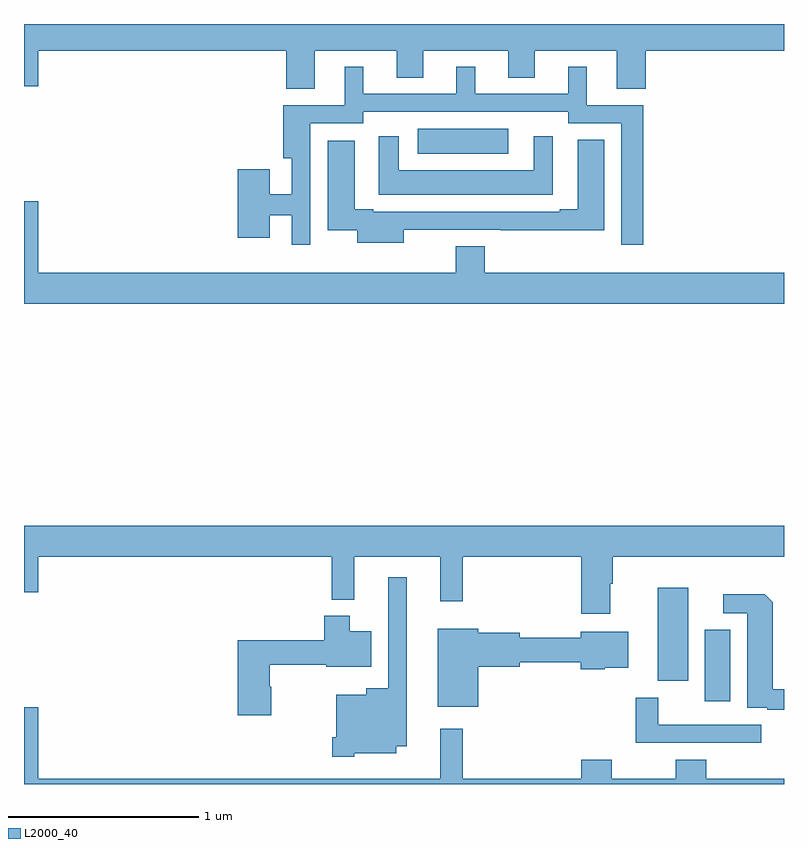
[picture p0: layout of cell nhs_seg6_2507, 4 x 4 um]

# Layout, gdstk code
import gdstk
lib = gdstk.Library(unit=1e-6, precision=1e-09)
def R(c, l, rs):  # rectangles x0, y0, x1, y1
    for r in rs: c.add(gdstk.rectangle(r[:2], r[2:], *l))
def P(c, l, *ps):  # polygons
    for p in ps: c.add(gdstk.Polygon(p, *l))
L2000_40 = (2000, 40)

nhs_seg6_2507 = lib.new_cell('nhs_seg6_2507')
R(nhs_seg6_2507, L2000_40, [(264.584,919.935,264.718,920.311), (264.335,920.043,264.496,920.533), (263.073,922.817,263.548,922.948)])
P(nhs_seg6_2507, L2000_40, [(262.531,923.36),(262.961,923.36),(262.961,923.218),(263.101,923.218),(263.101,923.36),(263.549,923.36),(263.549,923.218),(263.689,923.218),(263.689,923.36),(264.119,923.36),(264.119,923.158),(264.272,923.158),(264.272,923.36),(265,923.36),(265,923.5),(261,923.5),(261,923.172),(261.076,923.172),(261.076,923.36),(262.379,923.36),(262.379,923.158),(262.531,923.158)],
  [(262.506,922.977),(262.785,922.977),(262.785,923.037),(263.865,923.037),(263.865,922.977),(264.144,922.977),(264.144,922.338),(264.26,922.338),(264.26,923.073),(263.962,923.073),(263.962,923.275),(263.864,923.275),(263.864,923.133),(263.374,923.133),(263.374,923.275),(263.276,923.275),(263.276,923.133),(262.786,923.133),(262.786,923.275),(262.688,923.275),(262.688,923.073),(262.364,923.073),(262.364,922.793),(262.41,922.793),(262.41,922.604),(262.294,922.604),(262.294,922.735),(262.124,922.735),(262.124,922.374),(262.294,922.374),(262.294,922.494),(262.41,922.494),(262.41,922.338),(262.506,922.338)],
  [(263.782,922.909),(263.684,922.909),(263.684,922.729),(262.972,922.729),(262.972,922.909),(262.868,922.909),(262.868,922.601),(263.782,922.601)],
  [(262.999,922.416),(263.509,922.416),(263.509,922.414),(264.055,922.414),(264.055,922.891),(263.915,922.891),(263.915,922.525),(263.819,922.525),(263.819,922.512),(262.837,922.512),(262.837,922.525),(262.741,922.525),(262.741,922.885),(262.598,922.885),(262.598,922.414),(262.754,922.414),(262.754,922.349),(262.999,922.349)],
  [(265,922.192),(263.426,922.192),(263.426,922.331),(263.273,922.331),(263.273,922.192),(261.076,922.192),(261.076,922.567),(261,922.567),(261,922.028),(265,922.028)],
  [(264.085,920.555),(264.098,920.555),(264.098,920.696),(265,920.696),(265,920.86),(261,920.86),(261,920.508),(261.076,920.508),(261.076,920.696),(262.621,920.696),(262.621,920.471),(262.739,920.471),(262.739,920.696),(263.192,920.696),(263.192,920.463),(263.309,920.463),(263.309,920.696),(263.933,920.696),(263.933,920.397),(264.085,920.397)],
  [(262.737,919.661),(262.96,919.661),(262.96,919.7),(263.014,919.7),(263.014,920.587),(262.917,920.587),(262.917,920.005),(262.802,920.005),(262.802,919.969),(262.643,919.969),(262.643,919.747),(262.622,919.747),(262.622,919.643),(262.737,919.643)],
  [(265,919.998),(264.94,919.998),(264.94,920.456),(264.898,920.498),(264.681,920.498),(264.681,920.4),(264.806,920.4),(264.806,919.902),(264.911,919.902),(264.911,919.89),(265,919.89)],
  [(262.302,920.013),(262.294,920.013),(262.294,920.128),(262.592,920.128),(262.592,920.117),(262.828,920.117),(262.828,920.305),(262.714,920.305),(262.714,920.386),(262.58,920.386),(262.58,920.257),(262.124,920.257),(262.124,919.863),(262.302,919.863)],
  [(263.392,920.117),(263.608,920.117),(263.608,920.14),(263.93,920.14),(263.93,920.104),(264.056,920.104),(264.056,920.111),(264.181,920.111),(264.181,920.302),(263.93,920.302),(263.93,920.269),(263.608,920.269),(263.608,920.295),(263.392,920.295),(263.392,920.317),(263.177,920.317),(263.177,919.907),(263.392,919.907)],
  [(264.88,919.812),(264.339,919.812),(264.339,919.954),(264.22,919.954),(264.22,919.716),(264.88,919.716)],
  [(265,919.528),(264.59,919.528),(264.59,919.627),(264.43,919.627),(264.43,919.528),(264.093,919.528),(264.093,919.627),(263.933,919.627),(263.933,919.528),(263.309,919.528),(263.309,919.792),(263.191,919.792),(263.191,919.528),(261.076,919.528),(261.076,919.903),(261,919.903),(261,919.5),(265,919.5)])

lib.write_gds('nhs_seg6_2507.gds')
